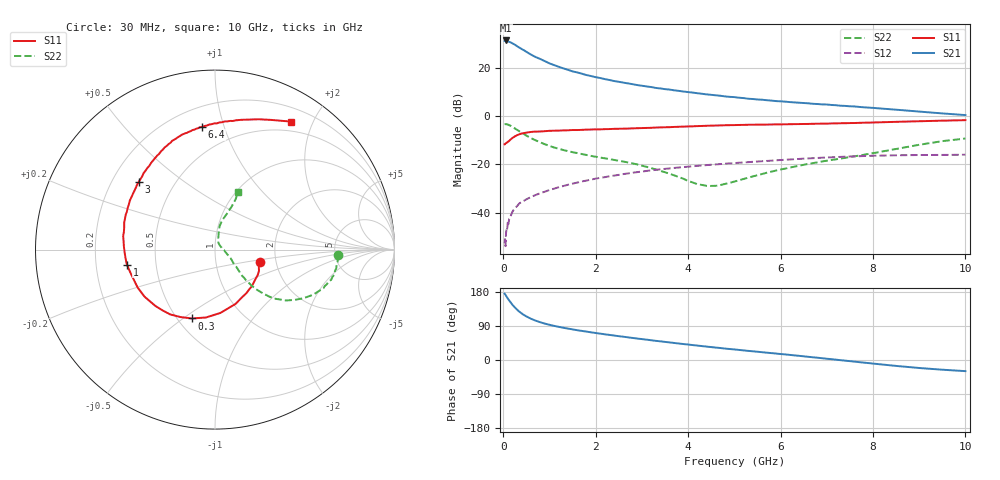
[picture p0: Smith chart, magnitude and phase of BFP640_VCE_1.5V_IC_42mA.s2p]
! Infineon Technologies  Discrete & RF Semiconductors
! BFP640
! VCE =  1.5 V,  IC =  42 mA
! Common Emitter S-Parameters:  Apr 2013
# GHz  S  MA  R  50
!  f  S11  S21  S12  S22
! GHz  MAG  ANG  MAG  ANG  MAG  ANG  MAG  ANG
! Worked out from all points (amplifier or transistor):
!   99 points, 30 MHz to 10 GHz, reference 50 ohm
!   highest |S21| = 31.5 dB at 50 MHz (marker M1)
!   |S21| within 3 dB of that: start of sweep to 352.8 MHz
!   unconditionally stable (mu >= 1): start of sweep to 143.3 MHz; 912.2 MHz to end of sweep
!   at 350 MHz: K = 0.77, MSG = 32.4 dB, |S12| = -36.2 dB
!   at 3.5 GHz: K = 1.21, MAG = 13.8 dB, |S12| = -21.9 dB
!   at 10 GHz: K = 1.18, MAG = 5.6 dB, |S12| = -16.0 dB
!   S11 on the Smith chart (normalised r, x): 30 MHz: 1.64, -0.25; 300 MHz: 0.59, -0.54; 1 GHz: 0.34, -0.08; 3 GHz: 0.31, +0.35; 6.4 GHz: 0.33, +0.85; 10 GHz: 0.37, +1.70
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0.03  0.2607 -16.0  36.77 175.1  0.0023 59.2  0.684 -2.6
0.04  0.2619 -21.2  36.63 173.5  0.0028 59.2  0.6869 -4.2
0.05  0.272 -25.7  37.56 171.9  0.002 46.7  0.6861 -5.9
0.09  0.2896 -44.9  36.62 163.9  0.005 63.3  0.681 -11.6
0.15  0.3238 -69.5  34.62 153.7  0.008 66.1  0.642 -19.5
0.2  0.3544 -85.2  32.65 145.6  0.0104 63.0  0.6009 -24.8
0.25  0.3818 -97.7  30.76 138.9  0.0124 63.6  0.5606 -29.0
0.3  0.4048 -108.6  28.52 132.8  0.0136 60.7  0.521 -32.6
0.45  0.4472 -130.7  23.45 118.6  0.0176 57.6  0.4264 -39.7
0.6  0.4721 -146.2  19.11 108.9  0.021 57.8  0.3507 -42.8
0.8  0.4827 -159.7  15.5 99.7  0.0252 57.1  0.2875 -44.5
1  0.4981 -170.3  12.56 92.9  0.0294 57.7  0.2418 -44.6
1.3  0.5079 178.0  9.881 85.1  0.0355 57.1  0.1987 -43.3
1.7  0.521 166.1  7.665 76.8  0.0442 56.1  0.164 -40.2
2.4  0.5475 150.1  5.389 64.5  0.0586 51.9  0.1238 -35.8
3  0.568 138.4  4.309 55.2  0.0709 47.6  0.094 -27.9
3.4  0.586 131.3  3.783 49.3  0.0789 44.0  0.0734 -21.3
5.1  0.6593 108.3  2.428 26.6  0.1081 29.9  0.0467 67.9
6.4  0.6877 95.9  1.911 11.0  0.1298 19.1  0.0937 77.5
6.7  0.6977 92.6  1.814 7.2  0.1346 16.2  0.1063 78.1
8.5  0.7657 71.5  1.369 -15.6  0.1546 -1.6  0.209 71.8
10  0.8293 59.3  1.058 -29.4  0.1587 -12.4  0.3444 68.2
